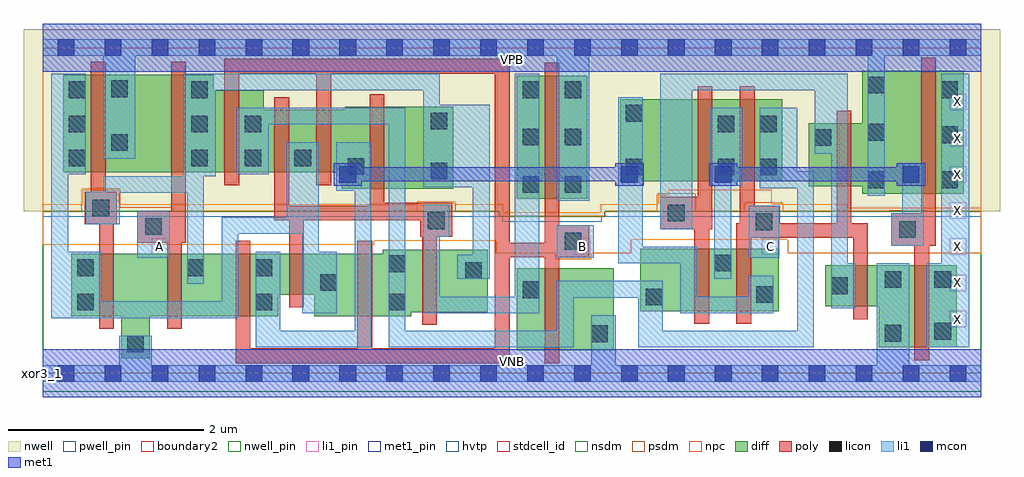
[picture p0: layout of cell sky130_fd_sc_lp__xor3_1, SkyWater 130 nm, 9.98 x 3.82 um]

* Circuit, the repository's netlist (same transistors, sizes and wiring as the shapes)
* Copyright 2020 The SkyWater PDK Authors
*
* Licensed under the Apache License, Version 2.0 (the "License");
* you may not use this file except in compliance with the License.
* You may obtain a copy of the License at
*
*     https://www.apache.org/licenses/LICENSE-2.0
*
* Unless required by applicable law or agreed to in writing, software
* distributed under the License is distributed on an "AS IS" BASIS,
* WITHOUT WARRANTIES OR CONDITIONS OF ANY KIND, either express or implied.
* See the License for the specific language governing permissions and
* limitations under the License.
*
* SPDX-License-Identifier: Apache-2.0

.SUBCKT sky130_fd_sc_lp__xor3_1 A B C VGND VNB VPB VPWR X
*.PININFO A:I B:I C:I VGND:I VNB:I VPB:I VPWR:I X:O
MMIP3 X net117 VPWR VPB sky130_fd_pr__pfet_01v8_hvt m=1 w=1.26U l=0.15U mult=1
+ sa=0.265 sb=0.265 sd=0.28 area=0.063 perim=1.14
MI650 mid1 Cb net117 VPB sky130_fd_pr__pfet_01v8_hvt m=1 w=0.84U l=0.15U mult=1
+ sa=0.265 sb=0.265 sd=0.28 area=0.063 perim=1.14
MI1 mid2 C net117 VPB sky130_fd_pr__pfet_01v8_hvt m=1 w=0.84U l=0.15U mult=1 sa=0.265
+ sb=0.265 sd=0.28 area=0.063 perim=1.14
MI33 Cb C VPWR VPB sky130_fd_pr__pfet_01v8_hvt m=1 w=0.64U l=0.15U mult=1 sa=0.265
+ sb=0.265 sd=0.28 area=0.063 perim=1.14
MI45 Ab A VPWR VPB sky130_fd_pr__pfet_01v8_hvt m=1 w=1.0U l=0.15U mult=1 sa=0.265
+ sb=0.265 sd=0.28 area=0.063 perim=1.14
MI47 Abb Ab VPWR VPB sky130_fd_pr__pfet_01v8_hvt m=1 w=1.0U l=0.15U mult=1 sa=0.265
+ sb=0.265 sd=0.28 area=0.063 perim=1.14
MI19 mid1 Bb Ab VPB sky130_fd_pr__pfet_01v8_hvt m=1 w=0.84U l=0.15U mult=1 sa=0.265
+ sb=0.265 sd=0.28 area=0.063 perim=1.14
MI16 Bb B VPWR VPB sky130_fd_pr__pfet_01v8_hvt m=1 w=1.26U l=0.15U mult=1 sa=0.265
+ sb=0.265 sd=0.28 area=0.063 perim=1.14
MI23 mid1 B Abb VPB sky130_fd_pr__pfet_01v8_hvt m=1 w=0.64U l=0.15U mult=1 sa=0.265
+ sb=0.265 sd=0.28 area=0.063 perim=1.14
MI26 mid2 Bb Abb VPB sky130_fd_pr__pfet_01v8_hvt m=1 w=0.64U l=0.15U mult=1 sa=0.265
+ sb=0.265 sd=0.28 area=0.063 perim=1.14
MI27 mid2 B Ab VPB sky130_fd_pr__pfet_01v8_hvt m=1 w=0.84U l=0.15U mult=1 sa=0.265
+ sb=0.265 sd=0.28 area=0.063 perim=1.14
MMIN3 X net117 VGND VNB sky130_fd_pr__nfet_01v8 m=1 w=0.84U l=0.15U mult=1 sa=0.265
+ sb=0.265 sd=0.28 area=0.063 perim=1.14
MI34 Cb C VGND VNB sky130_fd_pr__nfet_01v8 m=1 w=0.42U l=0.15U mult=1 sa=0.265
+ sb=0.265 sd=0.28 area=0.063 perim=1.14
MI649 mid1 C net117 VNB sky130_fd_pr__nfet_01v8 m=1 w=0.64U l=0.15U mult=1 sa=0.265
+ sb=0.265 sd=0.28 area=0.063 perim=1.14
MI2 mid2 Cb net117 VNB sky130_fd_pr__nfet_01v8 m=1 w=0.64U l=0.15U mult=1 sa=0.265
+ sb=0.265 sd=0.28 area=0.063 perim=1.14
MI44 Ab A VGND VNB sky130_fd_pr__nfet_01v8 m=1 w=0.64U l=0.15U mult=1 sa=0.265
+ sb=0.265 sd=0.28 area=0.063 perim=1.14
MI46 Abb Ab VGND VNB sky130_fd_pr__nfet_01v8 m=1 w=0.64U l=0.15U mult=1 sa=0.265
+ sb=0.265 sd=0.28 area=0.063 perim=1.14
MI17 Bb B VGND VNB sky130_fd_pr__nfet_01v8 m=1 w=0.84U l=0.15U mult=1 sa=0.265
+ sb=0.265 sd=0.28 area=0.063 perim=1.14
MI24 Ab B mid1 VNB sky130_fd_pr__nfet_01v8 m=1 w=0.64U l=0.15U mult=1 sa=0.265
+ sb=0.265 sd=0.28 area=0.063 perim=1.14
MI25 Abb Bb mid1 VNB sky130_fd_pr__nfet_01v8 m=1 w=0.42U l=0.15U mult=1 sa=0.265
+ sb=0.265 sd=0.28 area=0.063 perim=1.14
MI28 Abb B mid2 VNB sky130_fd_pr__nfet_01v8 m=1 w=0.64U l=0.15U mult=1 sa=0.265
+ sb=0.265 sd=0.28 area=0.063 perim=1.14
MI29 Ab Bb mid2 VNB sky130_fd_pr__nfet_01v8 m=1 w=0.64U l=0.15U mult=1 sa=0.265
+ sb=0.265 sd=0.28 area=0.063 perim=1.14
.ENDS sky130_fd_sc_lp__xor3_1

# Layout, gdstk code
import gdstk
lib = gdstk.Library(unit=1e-6, precision=1e-09)
def R(c, l, rs):  # rectangles x0, y0, x1, y1
    for r in rs: c.add(gdstk.rectangle(r[:2], r[2:], *l))
def A(c, l, x, y, w, h, nx, ny, dx, dy):  # array of equal rectangles
    R(c, l, [(x+i*dx, y+j*dy, x+i*dx+w, y+j*dy+h) for i in range(nx) for j in range(ny)])
def P(c, l, *ps):  # polygons
    for p in ps: c.add(gdstk.Polygon(p, *l))
nwell_pin = (64, 16)
nwell = (64, 20)
diff = (65, 20)
poly = (66, 20)
licon = (66, 44)
li1_pin = (67, 16)
li1 = (67, 20)
mcon = (67, 44)
met1_pin = (68, 16)
met1 = (68, 20)
hvtp = (78, 44)
stdcell_id = (81, 4)
nsdm = (93, 44)
psdm = (94, 20)
npc = (95, 20)
pwell_pin = (122, 16)
boundary2 = (236, 0)

sky130_fd_sc_lp__xor3_1 = lib.new_cell('sky130_fd_sc_lp__xor3_1')
R(sky130_fd_sc_lp__xor3_1, nwell_pin, [(0,3.085,9.6,3.33)])
P(sky130_fd_sc_lp__xor3_1, nwell, [(9.79,3.52),(-0.19,3.52),(-0.19,1.655),(4.67,1.655),(4.67,1.605),(5.75,1.605),(5.75,1.655),(9.79,1.655)])
R(sky130_fd_sc_lp__xor3_1, diff, [(4.85,0.235,5.84,1.075), (6.11,0.635,7.53,1.275), (4.85,1.785,5.57,3.045), (5.905,1.965,7.565,2.805)])
P(sky130_fd_sc_lp__xor3_1, diff, [(4.2,2.725),(3.095,2.725),(3.095,2.695),(2.26,2.695),(2.26,2.895),(1.75,2.895),(1.75,3.055),(0.21,3.055),(0.21,2.055),(3.06,2.055),(3.06,1.885),(4.2,1.885)],
  [(4.55,1.265),(3.48,1.265),(3.48,1.225),(0.295,1.225),(0.295,0.585),(0.805,0.585),(0.805,0.155),(1.095,0.155),(1.095,0.585),(2.41,0.585),(2.41,0.805),(2.78,0.805),(2.78,0.585),(3.77,0.585),(3.77,0.625),(4.55,0.625)],
  [(9.35,1.105),(8.005,1.105),(8.005,0.685),(8.55,0.685),(8.55,0.265),(9.35,0.265)],
  [(9.42,3.095),(8.38,3.095),(8.38,2.555),(7.835,2.555),(7.835,1.915),(8.38,1.915),(8.38,1.835),(9.42,1.835)])
P(sky130_fd_sc_lp__xor3_1, poly, [(0.76,1.855),(0.645,1.855),(0.645,3.185),(0.495,3.185),(0.495,1.855),(0.43,1.855),(0.43,1.525),(0.58,1.525),(0.58,0.455),(0.73,0.455),(0.73,1.525),(0.76,1.525)],
  [(1.465,3.185),(1.315,3.185),(1.315,1.665),(0.97,1.665),(0.97,1.335),(1.275,1.335),(1.275,0.455),(1.425,0.455),(1.425,1.335),(1.465,1.335)],
  [(4.19,1.745),(3.495,1.745),(3.495,2.855),(3.345,2.855),(3.345,1.715),(2.52,1.715),(2.52,2.825),(2.37,2.825),(2.37,1.565),(2.52,1.565),(2.52,0.675),(2.67,0.675),(2.67,1.565),(3.86,1.565),(3.86,1.395),(3.88,1.395),(3.88,0.495),(4.03,0.495),(4.03,1.395),(4.19,1.395)],
  [(5.59,1.515),(5.285,1.515),(5.285,3.175),(5.135,3.175),(5.135,1.335),(4.775,1.335),(4.775,3.215),(1.86,3.215),(1.86,1.925),(2.01,1.925),(2.01,3.065),(2.8,3.065),(2.8,1.925),(2.95,1.925),(2.95,3.065),(4.625,3.065),(4.625,0.255),(3.37,0.255),(3.37,1.355),(3.22,1.355),(3.22,0.255),(2.125,0.255),(2.125,1.355),(1.975,1.355),(1.975,0.105),(4.775,0.105),(4.775,1.185),(5.135,1.185),(5.135,0.105),(5.285,0.105),(5.285,1.185),(5.59,1.185)],
  [(6.85,2.935),(6.7,2.935),(6.7,1.805),(6.315,1.805),(6.315,1.475),(6.665,1.475),(6.665,0.505),(6.815,0.505),(6.815,1.475),(6.85,1.475)],
  [(8.44,1.535),(8.27,1.535),(8.27,2.685),(8.12,2.685),(8.12,1.535),(7.54,1.535),(7.54,1.715),(7.28,1.715),(7.28,2.935),(7.13,2.935),(7.13,1.535),(7.095,1.535),(7.095,0.505),(7.245,0.505),(7.245,1.385),(8.29,1.385),(8.29,0.555),(8.44,0.555)],
  [(9.135,3.225),(8.985,3.225),(8.985,1.635),(8.68,1.635),(8.68,1.305),(8.915,1.305),(8.915,0.135),(9.065,0.135),(9.065,1.305),(9.135,1.305)])
A(sky130_fd_sc_lp__xor3_1, licon, 4.91, 1.845, 0.17, 0.17, 1, 3, 0, 0.485)
A(sky130_fd_sc_lp__xor3_1, licon, 5.34, 1.845, 0.17, 0.17, 1, 3, 0, 0.485)
A(sky130_fd_sc_lp__xor3_1, licon, 8.44, 1.895, 0.17, 0.17, 1, 3, 0, 0.485)
A(sky130_fd_sc_lp__xor3_1, licon, 9.19, 1.895, 0.17, 0.17, 1, 3, 0, 0.46)
A(sky130_fd_sc_lp__xor3_1, licon, 0.27, 2.115, 0.17, 0.17, 1, 3, 0, 0.35)
A(sky130_fd_sc_lp__xor3_1, licon, 1.52, 2.115, 0.17, 0.17, 1, 3, 0, 0.35)
R(sky130_fd_sc_lp__xor3_1, licon, [(0.865,0.215,1.035,0.385), (5.61,0.32,5.78,0.49), (8.61,0.325,8.78,0.495), (9.12,0.345,9.29,0.515), (0.355,0.645,0.525,0.815), (2.18,0.645,2.35,0.815), (3.54,0.645,3.71,0.815), (6.17,0.695,6.34,0.865), (7.3,0.72,7.47,0.89), (4.91,0.77,5.08,0.94), (8.065,0.81,8.235,0.98), (2.84,0.845,3.01,1.015), (8.61,0.875,8.78,1.045), (9.12,0.875,9.29,1.045), (4.32,0.965,4.49,1.135), (0.355,0.995,0.525,1.165), (1.48,0.995,1.65,1.165), (2.18,0.995,2.35,1.165), (3.54,1.035,3.71,1.205), (6.87,1.045,7.04,1.215), (5.34,1.265,5.51,1.435), (8.76,1.385,8.93,1.555), (1.05,1.415,1.22,1.585), (7.29,1.465,7.46,1.635), (3.94,1.475,4.11,1.645), (6.395,1.555,6.565,1.725), (0.51,1.605,0.68,1.775), (3.97,1.985,4.14,2.155), (5.965,2.025,6.135,2.195), (6.905,2.025,7.075,2.195), (7.335,2.025,7.505,2.195), (3.12,2.03,3.29,2.2), (2.065,2.115,2.235,2.285), (2.575,2.115,2.745,2.285), (0.7,2.275,0.87,2.445), (7.895,2.325,8.065,2.495), (2.065,2.465,2.235,2.635), (6.905,2.465,7.075,2.635), (7.335,2.465,7.505,2.635), (3.97,2.495,4.14,2.665), (5.965,2.575,6.135,2.745), (0.7,2.825,0.87,2.995)])
A(sky130_fd_sc_lp__xor3_1, li1_pin, 5.435, 1.21, 0.17, 0.17, 3, 1, 1.92, 0)
A(sky130_fd_sc_lp__xor3_1, li1_pin, 9.275, 1.58, 0.17, 0.17, 1, 4, 0, 0.37)
R(sky130_fd_sc_lp__xor3_1, li1_pin, [(9.275,0.47,9.445,0.64), (9.275,0.84,9.445,1.01), (1.115,1.21,1.285,1.38)])
R(sky130_fd_sc_lp__xor3_1, li1, [(0.97,1.18,1.3,1.665), (5.26,1.18,5.635,1.515), (7.22,1.18,7.535,1.715)])
P(sky130_fd_sc_lp__xor3_1, li1, [(5.26,1.765),(5.26,3.245),(0.95,3.245),(0.95,2.195),(0.62,2.195),(0.62,3.245),(0,3.245),(0,3.415),(9.6,3.415),(9.6,3.245),(8.61,3.245),(8.61,1.815),(8.44,1.815),(8.44,3.245),(5.59,3.245),(5.59,1.765)],
  [(0.785,0.085),(0.785,0.385),(1.115,0.385),(1.115,0.085),(5.61,0.085),(5.61,0.595),(5.86,0.595),(5.86,0.085),(8.53,0.085),(8.53,1.125),(8.86,1.125),(8.86,0.085),(9.6,0.085),(9.6,-0.085),(0,-0.085),(0,0.085)],
  [(9.19,1.125),(9.19,3.065),(9.475,3.065),(9.475,0.265),(9.04,0.265),(9.04,1.125)],
  [(2.495,1.595),(2.495,2.365),(2.825,2.365),(2.825,1.245),(3.01,1.245),(3.01,0.615),(2.655,0.615),(2.655,1.425),(2,1.425),(2,0.565),(0.09,0.565),(0.09,3.065),(0.44,3.065),(0.44,2.035),(0.26,2.035),(0.26,1.245),(0.605,1.245),(0.605,0.735),(1.83,0.735),(1.83,1.595)],
  [(3.89,1.905),(3.89,2.895),(1.77,2.895),(1.77,2.015),(1.65,2.015),(1.65,0.915),(1.48,0.915),(1.48,1.845),(0.79,1.845),(0.79,1.525),(0.44,1.525),(0.44,1.855),(0.62,1.855),(0.62,2.015),(1.44,2.015),(1.44,3.065),(4.06,3.065),(4.06,2.745),(4.57,2.745),(4.57,0.965),(4.24,0.965),(4.24,1.215),(4.4,1.215),(4.4,1.905)],
  [(6.825,1.92),(6.825,2.715),(7.155,2.715),(7.155,1.92),(7.04,1.92),(7.04,0.965),(6.87,0.965),(6.87,1.92)],
  [(8.68,1.305),(8.68,1.635),(8.79,1.635),(8.79,2.15),(9.01,2.15),(9.01,1.305)],
  [(6.315,1.475),(6.315,3.065),(8.235,3.065),(8.235,1.125),(8.315,1.125),(8.315,0.665),(8.065,0.665),(8.065,2.245),(7.895,2.245),(7.895,2.895),(6.645,2.895),(6.645,1.475)],
  [(6.09,0.775),(5.43,0.775),(5.43,0.265),(3.54,0.265),(3.54,2.545),(2.315,2.545),(2.315,2.035),(1.985,2.035),(1.985,2.715),(3.71,2.715),(3.71,0.435),(5.26,0.435),(5.26,0.945),(6.34,0.945),(6.34,0.435),(7.715,0.435),(7.715,1.895),(7.335,1.895),(7.335,2.715),(7.715,2.715),(7.715,2.065),(7.885,2.065),(7.885,0.265),(6.09,0.265)],
  [(5.885,2.825),(6.135,2.825),(6.135,1.295),(6.69,1.295),(6.69,0.785),(7.22,0.785),(7.22,1),(7.47,1),(7.47,0.615),(6.52,0.615),(6.52,1.125),(5.885,1.125)],
  [(3.19,0.435),(3.19,1.865),(3.005,1.865),(3.005,2.365),(3.36,2.365),(3.36,0.265),(2.18,0.265),(2.18,1.245),(2.43,1.245),(2.43,0.435)],
  [(3.89,1.725),(4.16,1.725),(4.16,1.395),(4.06,1.395),(4.06,0.785),(4.83,0.785),(4.83,3.065),(5.08,3.065),(5.08,0.615),(3.89,0.615)])
A(sky130_fd_sc_lp__xor3_1, mcon, 0.155, -0.085, 0.17, 0.17, 20, 2, 0.48, 3.33)
R(sky130_fd_sc_lp__xor3_1, mcon, [(3.035,1.95,3.205,2.12), (5.915,1.95,6.085,2.12), (6.875,1.95,7.045,2.12), (8.795,1.95,8.965,2.12)])
R(sky130_fd_sc_lp__xor3_1, met1_pin, [(0,0,9.6,0.245), (0,3.085,9.6,3.33)])
R(sky130_fd_sc_lp__xor3_1, met1, [(0,-0.245,9.6,0.245), (0,3.085,9.6,3.575)])
P(sky130_fd_sc_lp__xor3_1, met1, [(8.735,1.92),(8.735,1.965),(7.105,1.965),(7.105,1.92),(6.815,1.92),(6.815,2.15),(7.105,2.15),(7.105,2.105),(8.735,2.105),(8.735,2.15),(9.025,2.15),(9.025,1.92)],
  [(2.975,1.92),(2.975,2.15),(3.265,2.15),(3.265,2.105),(5.855,2.105),(5.855,2.15),(6.145,2.15),(6.145,1.92),(5.855,1.92),(5.855,1.965),(3.265,1.965),(3.265,1.92)])
P(sky130_fd_sc_lp__xor3_1, hvtp, [(9.6,3.33),(0,3.33),(0,1.6),(4.7,1.6),(4.7,1.55),(5.72,1.55),(5.72,1.6),(9.6,1.6)])
R(sky130_fd_sc_lp__xor3_1, stdcell_id, [(0,0,9.6,3.33)])
P(sky130_fd_sc_lp__xor3_1, nsdm, [(9.6,1.655),(5.75,1.655),(5.75,1.605),(4.67,1.605),(4.67,1.655),(0,1.655),(0,-0.19),(9.6,-0.19)])
P(sky130_fd_sc_lp__xor3_1, psdm, [(9.6,3.52),(0,3.52),(0,1.655),(0.4,1.655),(0.4,1.885),(0.79,1.885),(0.79,1.695),(1.33,1.695),(1.33,1.655),(3.83,1.655),(3.83,1.755),(4.22,1.755),(4.22,1.655),(4.67,1.655),(4.67,1.605),(5.75,1.605),(5.75,1.655),(6.285,1.655),(6.285,1.835),(6.675,1.835),(6.675,1.655),(7.18,1.655),(7.18,1.745),(7.57,1.745),(7.57,1.655),(8.65,1.655),(8.65,1.665),(9.04,1.665),(9.04,1.655),(9.6,1.655)])
P(sky130_fd_sc_lp__xor3_1, npc, [(9.6,1.695),(8.24,1.695),(8.24,1.73),(7.56,1.73),(7.56,1.735),(7.455,1.735),(7.455,1.875),(6.4,1.875),(6.4,1.825),(6.295,1.825),(6.295,1.73),(5.71,1.73),(5.71,1.645),(4.71,1.645),(4.71,1.73),(4.21,1.73),(4.21,1.745),(3.84,1.745),(3.84,1.73),(0.78,1.73),(0.78,1.875),(0.41,1.875),(0.41,1.73),(0,1.73),(0,1.315),(3.39,1.315),(3.39,1.355),(4.64,1.355),(4.64,1.23),(5.24,1.23),(5.24,1.165),(5.61,1.165),(5.61,1.23),(6.02,1.23),(6.02,1.365),(7.62,1.365),(7.62,1.23),(9.6,1.23)])
R(sky130_fd_sc_lp__xor3_1, pwell_pin, [(0,0,9.6,0.245)])
R(sky130_fd_sc_lp__xor3_1, boundary2, [(0,0,9.6,3.33)])
sky130_fd_sc_lp__xor3_1.add(gdstk.Label('VNB', (4.8,0.123), layer=64, texttype=59))
sky130_fd_sc_lp__xor3_1.add(gdstk.Label('VPB', (4.8,3.208), layer=64, texttype=5))
sky130_fd_sc_lp__xor3_1.add(gdstk.Label('xor3_1', (0,0), layer=83, texttype=44))
sky130_fd_sc_lp__xor3_1.add(gdstk.Label('VPWR', (4.8,3.208), layer=68, texttype=5))
sky130_fd_sc_lp__xor3_1.add(gdstk.Label('VGND', (4.8,0.123), layer=68, texttype=5))
sky130_fd_sc_lp__xor3_1.add(gdstk.Label('X', (9.36,0.555), layer=67, texttype=5))
sky130_fd_sc_lp__xor3_1.add(gdstk.Label('X', (9.36,0.925), layer=67, texttype=5))
sky130_fd_sc_lp__xor3_1.add(gdstk.Label('X', (9.36,1.295), layer=67, texttype=5))
sky130_fd_sc_lp__xor3_1.add(gdstk.Label('X', (9.36,1.665), layer=67, texttype=5))
sky130_fd_sc_lp__xor3_1.add(gdstk.Label('X', (9.36,2.035), layer=67, texttype=5))
sky130_fd_sc_lp__xor3_1.add(gdstk.Label('X', (9.36,2.405), layer=67, texttype=5))
sky130_fd_sc_lp__xor3_1.add(gdstk.Label('X', (9.36,2.775), layer=67, texttype=5))
sky130_fd_sc_lp__xor3_1.add(gdstk.Label('A', (1.2,1.295), layer=67, texttype=5))
sky130_fd_sc_lp__xor3_1.add(gdstk.Label('C', (7.44,1.295), layer=67, texttype=5))
sky130_fd_sc_lp__xor3_1.add(gdstk.Label('B', (5.52,1.295), layer=67, texttype=5))

lib.write_gds('sky130_fd_sc_lp__xor3_1.gds')
